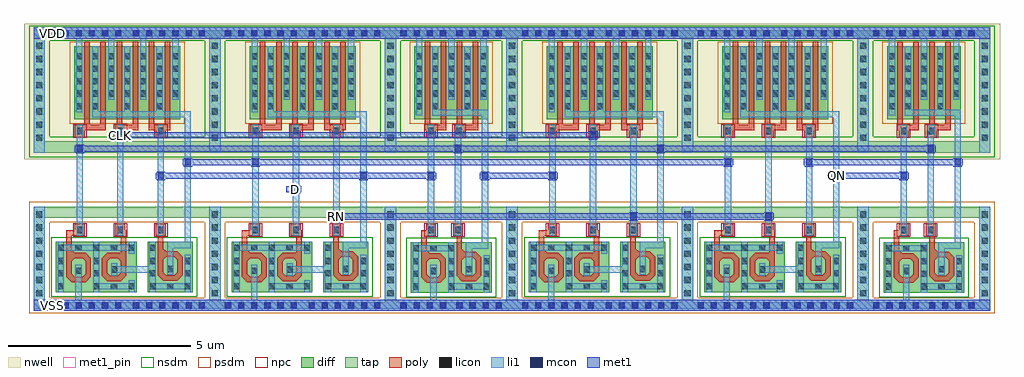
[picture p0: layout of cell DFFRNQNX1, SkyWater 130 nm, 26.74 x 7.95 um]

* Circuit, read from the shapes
.subckt DFFRNQNX1 CLK D QN RN VDD VSS
XM1 n1 n2 VSS VSS sky130_fd_pr__nfet_01v8 w=2.6 l=0.1462
XM2 n1 CLK n3 VSS sky130_fd_pr__nfet_01v8 w=2.52 l=0.1453
XM3 n3 n4 n5 VSS sky130_fd_pr__nfet_01v8 w=2.56 l=0.1459
XM4 n6 n5 VSS VSS sky130_fd_pr__nfet_01v8 w=2.6 l=0.1461
XM5 n6 D n7 VSS sky130_fd_pr__nfet_01v8 w=2.52 l=0.1453
XM6 n7 RN n4 VSS sky130_fd_pr__nfet_01v8 w=2.56 l=0.1459
XM7 n8 n4 VSS VSS sky130_fd_pr__nfet_01v8 w=2.6 l=0.1465
XM8 n8 n2 n9 VSS sky130_fd_pr__nfet_01v8 w=2.56 l=0.1463
XM9 n10 n9 VSS VSS sky130_fd_pr__nfet_01v8 w=2.6 l=0.1464
XM10 n10 CLK n11 VSS sky130_fd_pr__nfet_01v8 w=2.52 l=0.1453
XM11 n11 RN n2 VSS sky130_fd_pr__nfet_01v8 w=2.56 l=0.1459
XM12 n12 n5 VSS VSS sky130_fd_pr__nfet_01v8 w=2.6 l=0.1461
XM13 n12 RN n13 VSS sky130_fd_pr__nfet_01v8 w=2.52 l=0.1453
XM14 n13 n14 QN VSS sky130_fd_pr__nfet_01v8 w=2.56 l=0.1459
XM15 n15 QN VSS VSS sky130_fd_pr__nfet_01v8 w=2.6 l=0.1465
XM16 n15 n2 n14 VSS sky130_fd_pr__nfet_01v8 w=2.56 l=0.1461
XM17 n5 n2 VDD VDD sky130_fd_pr__pfet_01v8 w=2 l=0.15 m=2
XM18 n5 CLK VDD VDD sky130_fd_pr__pfet_01v8 w=2 l=0.15 m=2
XM19 n5 n4 VDD VDD sky130_fd_pr__pfet_01v8 w=2 l=0.15 m=2
XM20 n4 n5 VDD VDD sky130_fd_pr__pfet_01v8 w=2 l=0.15 m=2
XM21 n4 D VDD VDD sky130_fd_pr__pfet_01v8 w=2 l=0.15 m=2
XM22 n4 RN VDD VDD sky130_fd_pr__pfet_01v8 w=2 l=0.15 m=2
XM23 n9 n4 VDD VDD sky130_fd_pr__pfet_01v8 w=2 l=0.15 m=2
XM24 n9 n2 VDD VDD sky130_fd_pr__pfet_01v8 w=2 l=0.15 m=2
XM25 n2 n9 VDD VDD sky130_fd_pr__pfet_01v8 w=2 l=0.15 m=2
XM26 n2 CLK VDD VDD sky130_fd_pr__pfet_01v8 w=2 l=0.15 m=2
XM27 n2 RN VDD VDD sky130_fd_pr__pfet_01v8 w=2 l=0.15 m=2
XM28 QN n5 VDD VDD sky130_fd_pr__pfet_01v8 w=2 l=0.15 m=2
XM29 QN RN VDD VDD sky130_fd_pr__pfet_01v8 w=2 l=0.15 m=2
XM30 QN n14 VDD VDD sky130_fd_pr__pfet_01v8 w=2 l=0.15 m=2
XM31 n14 QN VDD VDD sky130_fd_pr__pfet_01v8 w=2 l=0.15 m=2
XM32 n14 n2 VDD VDD sky130_fd_pr__pfet_01v8 w=2 l=0.15 m=2
.ends

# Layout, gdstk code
import gdstk
lib = gdstk.Library(unit=1e-6, precision=1e-09)
def R(c, l, rs):  # rectangles x0, y0, x1, y1
    for r in rs: c.add(gdstk.rectangle(r[:2], r[2:], *l))
def A(c, l, x, y, w, h, nx, ny, dx, dy):  # array of equal rectangles
    R(c, l, [(x+i*dx, y+j*dy, x+i*dx+w, y+j*dy+h) for i in range(nx) for j in range(ny)])
def P(c, l, *ps):  # polygons
    for p in ps: c.add(gdstk.Polygon(p, *l))
nwell = (64, 20)
diff = (65, 20)
tap = (65, 44)
poly = (66, 20)
licon = (66, 44)
li1 = (67, 20)
mcon = (67, 44)
met1_pin = (68, 16)
met1 = (68, 20)
nsdm = (93, 44)
psdm = (94, 20)
npc = (95, 20)

dffrnqnx1 = lib.new_cell('DFFRNQNX1')
R(dffrnqnx1, nwell, [(-0.42,4.16,26.32,7.875)])
R(dffrnqnx1, diff, [(10.18,0.505,12.39,1.885), (23.13,0.505,25.34,1.885), (0.455,0.515,2.665,1.895), (2.965,0.515,4.205,1.895), (5.265,0.515,7.475,1.895), (7.775,0.515,9.015,1.895), (13.405,0.515,15.615,1.895), (15.915,0.515,17.155,1.895), (18.215,0.515,20.425,1.895), (20.725,0.515,21.965,1.895), (0.955,5.25,3.855,7.25), (5.765,5.25,8.665,7.25), (10.275,5.25,12.295,7.25), (13.905,5.25,16.805,7.25), (18.715,5.25,21.615,7.25), (23.225,5.25,25.245,7.25)])
A(dffrnqnx1, tap, -0.155, 0.055, 0.31, 0.01, 3, 1, 4.81, 0)
A(dffrnqnx1, tap, 12.795, 0.055, 0.31, 0.01, 3, 1, 4.81, 0)
A(dffrnqnx1, tap, -0.155, 0.235, 0.31, 2.315, 3, 1, 4.81, 0)
A(dffrnqnx1, tap, 12.795, 0.235, 0.31, 2.315, 3, 1, 4.81, 0)
A(dffrnqnx1, tap, -0.155, 4.65, 0.31, 2.875, 3, 1, 4.81, 0)
A(dffrnqnx1, tap, 12.795, 4.65, 0.31, 2.875, 3, 1, 4.81, 0)
R(dffrnqnx1, tap, [(25.745,0.055,26.055,0.065), (-0.155,0.065,26.055,0.235), (25.745,0.235,26.055,2.55), (-0.155,2.55,26.055,2.86), (-0.155,4.34,26.055,4.65), (25.745,4.65,26.055,7.525), (-0.155,7.525,26.055,7.695)])
A(dffrnqnx1, poly, 11.335, 2.055, 0.27, 0.33, 3, 1, 4.81, 0)
A(dffrnqnx1, poly, 0.975, 4.765, 0.27, 0.18, 3, 1, 1.11, 0)
A(dffrnqnx1, poly, 5.785, 4.765, 0.27, 0.18, 3, 1, 1.11, 0)
A(dffrnqnx1, poly, 13.925, 4.765, 0.27, 0.18, 3, 1, 1.11, 0)
A(dffrnqnx1, poly, 18.735, 4.765, 0.27, 0.18, 3, 1, 1.11, 0)
A(dffrnqnx1, poly, 1.235, 5.095, 0.15, 2.285, 6, 1, 0.44, 0)
A(dffrnqnx1, poly, 6.045, 5.095, 0.15, 2.285, 6, 1, 0.44, 0)
A(dffrnqnx1, poly, 10.555, 5.095, 0.15, 2.285, 4, 1, 0.44, 0)
A(dffrnqnx1, poly, 14.185, 5.095, 0.15, 2.285, 6, 1, 0.44, 0)
A(dffrnqnx1, poly, 18.995, 5.095, 0.15, 2.285, 6, 1, 0.44, 0)
A(dffrnqnx1, poly, 23.505, 5.095, 0.15, 2.285, 4, 1, 0.44, 0)
R(dffrnqnx1, poly, [(10.61,0.775,10.99,0.785), (23.56,0.775,23.94,0.785), (0.885,0.785,1.265,0.935), (5.695,0.785,6.075,0.82), (10.6,0.785,10.99,0.82), (13.835,0.785,14.215,0.815), (18.645,0.785,19.025,0.82), (23.55,0.785,23.94,0.82), (11.58,0.815,11.96,0.965), (13.805,0.815,14.215,0.935), (24.53,0.815,24.91,0.965), (1.86,0.82,2.235,0.97), (5.66,0.82,6.075,0.825), (6.67,0.82,7.045,0.97), (10.565,0.82,10.99,0.825), (14.81,0.82,15.185,0.97), (18.61,0.82,19.025,0.825), (19.62,0.82,19.995,0.97), (23.515,0.82,23.94,0.825), (3.395,0.825,3.775,0.975), (5.655,0.825,6.075,0.935), (8.205,0.825,8.585,0.975), (10.56,0.825,10.99,0.925), (16.345,0.825,16.725,0.975), (18.605,0.825,19.025,0.935), (21.155,0.825,21.535,0.975), (23.51,0.825,23.94,0.925), (10.46,0.925,10.61,1.43), (10.99,0.925,11.14,1.43), (23.41,0.925,23.56,1.43), (23.94,0.925,24.09,1.43), (0.735,0.935,0.885,1.44), (1.265,0.935,1.415,1.44), (5.545,0.935,5.695,1.44), (6.075,0.935,6.225,1.44), (13.685,0.935,13.835,1.44), (14.215,0.935,14.365,1.44), (18.495,0.935,18.645,1.44), (19.025,0.935,19.175,1.44), (11.43,0.965,11.58,1.47), (11.96,0.965,12.11,1.47), (24.38,0.965,24.53,1.47), (24.91,0.965,25.06,1.47), (1.71,0.97,1.86,1.44), (2.235,0.97,2.385,1.44), (6.52,0.97,6.67,1.44), (7.045,0.97,7.195,1.44), (14.66,0.97,14.81,1.44), (15.185,0.97,15.335,1.44), (19.47,0.97,19.62,1.44), (19.995,0.97,20.145,1.44), (3.245,0.975,3.395,1.48), (3.775,0.975,3.925,1.48), (8.055,0.975,8.205,1.48), (8.585,0.975,8.735,1.48), (16.195,0.975,16.345,1.48), (16.725,0.975,16.875,1.48), (21.005,0.975,21.155,1.48), (21.535,0.975,21.685,1.48), (10.46,1.43,10.99,1.58), (23.41,1.43,23.94,1.58), (0.735,1.44,1.265,1.59), (1.86,1.44,2.385,1.59), (5.545,1.44,6.075,1.59), (6.67,1.44,7.195,1.59), (13.685,1.44,14.215,1.59), (14.81,1.44,15.335,1.59), (18.495,1.44,19.025,1.59), (19.62,1.44,20.145,1.59), (11.43,1.47,11.96,1.62), (24.38,1.47,24.91,1.62), (3.245,1.48,3.775,1.63), (8.055,1.48,8.585,1.63), (16.195,1.48,16.725,1.63), (21.005,1.48,21.535,1.63), (10.46,1.58,10.61,2.055), (23.41,1.58,23.56,2.055), (0.735,1.59,0.885,2.055), (2.235,1.59,2.385,2.055), (5.545,1.59,5.695,2.055), (7.045,1.59,7.195,2.055), (13.685,1.59,13.835,2.055), (15.185,1.59,15.335,2.055), (18.495,1.59,18.645,2.055), (19.995,1.59,20.145,2.055), (11.43,1.62,11.58,2.055), (24.38,1.62,24.53,2.055), (3.245,1.63,3.395,2.055), (8.055,1.63,8.205,2.055), (16.195,1.63,16.345,2.055), (21.005,1.63,21.155,2.055), (0.735,2.055,1.245,2.205), (2.085,2.055,2.385,2.205), (3.195,2.055,3.465,2.385), (5.545,2.055,6.055,2.205), (6.895,2.055,7.195,2.205), (8.005,2.055,8.275,2.385), (10.46,2.055,10.865,2.205), (13.685,2.055,14.195,2.205), (15.035,2.055,15.335,2.205), (18.495,2.055,19.005,2.205), (19.845,2.055,20.145,2.205), (23.41,2.055,23.815,2.205), (24.285,2.055,24.555,2.385), (0.975,2.205,1.245,2.385), (2.085,2.205,2.355,2.385), (5.785,2.205,6.055,2.385), (6.895,2.205,7.165,2.385), (10.595,2.205,10.865,2.385), (13.925,2.205,14.195,2.385), (15.035,2.205,15.305,2.385), (18.735,2.205,19.005,2.385), (19.845,2.205,20.115,2.385), (23.545,2.205,23.815,2.385), (10.595,4.765,10.865,4.945), (11.365,4.765,11.635,4.945), (23.545,4.765,23.815,4.945), (24.315,4.765,24.585,4.945), (0.975,4.945,1.825,5.095), (2.085,4.945,2.705,5.095), (2.995,4.945,3.585,5.095), (5.785,4.945,6.635,5.095), (6.895,4.945,7.515,5.095), (7.805,4.945,8.395,5.095), (10.555,4.945,11.145,5.095), (11.365,4.945,12.025,5.095), (13.925,4.945,14.775,5.095), (15.035,4.945,15.655,5.095), (15.945,4.945,16.535,5.095), (18.735,4.945,19.585,5.095), (19.845,4.945,20.465,5.095), (20.755,4.945,21.345,5.095), (23.505,4.945,24.095,5.095), (24.315,4.945,24.975,5.095)])
P(dffrnqnx1, poly, [(0.885,1.67),(0.885,1.59),(0.965,1.59)],
  [(1.265,1.59),(1.265,1.44),(1.415,1.44)],
  [(0.885,1.36),(0.885,1.44),(0.965,1.44)],
  [(1.185,1.44),(1.265,1.44),(1.265,1.36)],
  [(0.885,1.015),(0.885,0.935),(0.965,0.935)],
  [(1.185,0.935),(1.265,0.935),(1.265,1.015)],
  [(0.735,0.935),(0.885,0.935),(0.885,0.785)],
  [(1.265,0.785),(1.265,0.935),(1.415,0.935)],
  [(1.71,1.44),(1.86,1.44),(1.86,1.59)],
  [(1.86,1.36),(1.86,1.44),(1.94,1.44)],
  [(2.155,1.44),(2.235,1.44),(2.235,1.36)],
  [(1.86,1.05),(1.86,0.97),(1.94,0.97)],
  [(2.155,0.97),(2.235,0.97),(2.235,1.05)],
  [(1.71,0.97),(1.86,0.97),(1.86,0.82)],
  [(2.235,0.82),(2.235,0.97),(2.385,0.97)],
  [(3.395,1.71),(3.395,1.63),(3.475,1.63)],
  [(3.775,1.63),(3.775,1.48),(3.925,1.48)],
  [(3.395,1.4),(3.395,1.48),(3.475,1.48)],
  [(3.695,1.48),(3.775,1.48),(3.775,1.4)],
  [(3.395,1.055),(3.395,0.975),(3.475,0.975)],
  [(3.695,0.975),(3.775,0.975),(3.775,1.055)],
  [(3.245,0.975),(3.395,0.975),(3.395,0.825)],
  [(3.775,0.825),(3.775,0.975),(3.925,0.975)],
  [(5.695,1.67),(5.695,1.59),(5.775,1.59)],
  [(6.075,1.59),(6.075,1.44),(6.225,1.44)],
  [(5.695,1.36),(5.695,1.44),(5.775,1.44)],
  [(5.995,1.44),(6.075,1.44),(6.075,1.36)],
  [(5.695,1.015),(5.695,0.935),(5.775,0.935)],
  [(5.995,0.935),(6.075,0.935),(6.075,1.015)],
  [(5.545,0.935),(5.655,0.935),(5.655,0.825)],
  [(5.655,0.825),(5.66,0.825),(5.66,0.82)],
  [(5.66,0.82),(5.695,0.82),(5.695,0.785)],
  [(6.075,0.785),(6.075,0.935),(6.225,0.935)],
  [(6.52,1.44),(6.67,1.44),(6.67,1.59)],
  [(6.67,1.36),(6.67,1.44),(6.75,1.44)],
  [(6.965,1.44),(7.045,1.44),(7.045,1.36)],
  [(6.67,1.05),(6.67,0.97),(6.75,0.97)],
  [(6.965,0.97),(7.045,0.97),(7.045,1.05)],
  [(6.52,0.97),(6.67,0.97),(6.67,0.82)],
  [(7.045,0.82),(7.045,0.97),(7.195,0.97)],
  [(8.205,1.71),(8.205,1.63),(8.285,1.63)],
  [(8.585,1.63),(8.585,1.48),(8.735,1.48)],
  [(8.205,1.4),(8.205,1.48),(8.285,1.48)],
  [(8.505,1.48),(8.585,1.48),(8.585,1.4)],
  [(8.205,1.055),(8.205,0.975),(8.285,0.975)],
  [(8.505,0.975),(8.585,0.975),(8.585,1.055)],
  [(8.055,0.975),(8.205,0.975),(8.205,0.825)],
  [(8.585,0.825),(8.585,0.975),(8.735,0.975)],
  [(10.61,1.66),(10.61,1.58),(10.69,1.58)],
  [(11.58,1.7),(11.58,1.62),(11.66,1.62)],
  [(10.99,1.58),(10.99,1.43),(11.14,1.43)],
  [(10.61,1.35),(10.61,1.43),(10.69,1.43)],
  [(10.91,1.43),(10.99,1.43),(10.99,1.35)],
  [(10.61,1.005),(10.61,0.925),(10.69,0.925)],
  [(10.91,0.925),(10.99,0.925),(10.99,1.005)],
  [(10.46,0.925),(10.56,0.925),(10.56,0.825)],
  [(10.56,0.825),(10.565,0.825),(10.565,0.82)],
  [(10.565,0.82),(10.6,0.82),(10.6,0.785)],
  [(10.6,0.785),(10.61,0.785),(10.61,0.775)],
  [(10.99,0.775),(10.99,0.925),(11.14,0.925)],
  [(11.96,1.62),(11.96,1.47),(12.11,1.47)],
  [(11.58,1.39),(11.58,1.47),(11.66,1.47)],
  [(11.88,1.47),(11.96,1.47),(11.96,1.39)],
  [(11.58,1.045),(11.58,0.965),(11.66,0.965)],
  [(11.88,0.965),(11.96,0.965),(11.96,1.045)],
  [(11.43,0.965),(11.58,0.965),(11.58,0.815)],
  [(11.96,0.815),(11.96,0.965),(12.11,0.965)],
  [(13.835,1.67),(13.835,1.59),(13.915,1.59)],
  [(14.215,1.59),(14.215,1.44),(14.365,1.44)],
  [(13.835,1.36),(13.835,1.44),(13.915,1.44)],
  [(14.135,1.44),(14.215,1.44),(14.215,1.36)],
  [(13.835,1.015),(13.835,0.935),(13.915,0.935)],
  [(14.135,0.935),(14.215,0.935),(14.215,1.015)],
  [(13.685,0.935),(13.805,0.935),(13.805,0.815)],
  [(13.805,0.815),(13.835,0.815),(13.835,0.785)],
  [(14.215,0.785),(14.215,0.935),(14.365,0.935)],
  [(14.66,1.44),(14.81,1.44),(14.81,1.59)],
  [(14.81,1.36),(14.81,1.44),(14.89,1.44)],
  [(15.105,1.44),(15.185,1.44),(15.185,1.36)],
  [(14.81,1.05),(14.81,0.97),(14.89,0.97)],
  [(15.105,0.97),(15.185,0.97),(15.185,1.05)],
  [(14.66,0.97),(14.81,0.97),(14.81,0.82)],
  [(15.185,0.82),(15.185,0.97),(15.335,0.97)],
  [(16.345,1.71),(16.345,1.63),(16.425,1.63)],
  [(16.725,1.63),(16.725,1.48),(16.875,1.48)],
  [(16.345,1.4),(16.345,1.48),(16.425,1.48)],
  [(16.645,1.48),(16.725,1.48),(16.725,1.4)],
  [(16.345,1.055),(16.345,0.975),(16.425,0.975)],
  [(16.645,0.975),(16.725,0.975),(16.725,1.055)],
  [(16.195,0.975),(16.345,0.975),(16.345,0.825)],
  [(16.725,0.825),(16.725,0.975),(16.875,0.975)],
  [(18.645,1.67),(18.645,1.59),(18.725,1.59)],
  [(19.025,1.59),(19.025,1.44),(19.175,1.44)],
  [(18.645,1.36),(18.645,1.44),(18.725,1.44)],
  [(18.945,1.44),(19.025,1.44),(19.025,1.36)],
  [(18.645,1.015),(18.645,0.935),(18.725,0.935)],
  [(18.945,0.935),(19.025,0.935),(19.025,1.015)],
  [(18.495,0.935),(18.605,0.935),(18.605,0.825)],
  [(18.605,0.825),(18.61,0.825),(18.61,0.82)],
  [(18.61,0.82),(18.645,0.82),(18.645,0.785)],
  [(19.025,0.785),(19.025,0.935),(19.175,0.935)],
  [(19.47,1.44),(19.62,1.44),(19.62,1.59)],
  [(19.62,1.36),(19.62,1.44),(19.7,1.44)],
  [(19.915,1.44),(19.995,1.44),(19.995,1.36)],
  [(19.62,1.05),(19.62,0.97),(19.7,0.97)],
  [(19.915,0.97),(19.995,0.97),(19.995,1.05)],
  [(19.47,0.97),(19.62,0.97),(19.62,0.82)],
  [(19.995,0.82),(19.995,0.97),(20.145,0.97)],
  [(21.155,1.71),(21.155,1.63),(21.235,1.63)],
  [(21.535,1.63),(21.535,1.48),(21.685,1.48)],
  [(21.155,1.4),(21.155,1.48),(21.235,1.48)],
  [(21.455,1.48),(21.535,1.48),(21.535,1.4)],
  [(21.155,1.055),(21.155,0.975),(21.235,0.975)],
  [(21.455,0.975),(21.535,0.975),(21.535,1.055)],
  [(21.005,0.975),(21.155,0.975),(21.155,0.825)],
  [(21.535,0.825),(21.535,0.975),(21.685,0.975)],
  [(23.56,1.66),(23.56,1.58),(23.64,1.58)],
  [(24.53,1.7),(24.53,1.62),(24.61,1.62)],
  [(23.94,1.58),(23.94,1.43),(24.09,1.43)],
  [(23.56,1.35),(23.56,1.43),(23.64,1.43)],
  [(23.86,1.43),(23.94,1.43),(23.94,1.35)],
  [(23.56,1.005),(23.56,0.925),(23.64,0.925)],
  [(23.86,0.925),(23.94,0.925),(23.94,1.005)],
  [(23.41,0.925),(23.51,0.925),(23.51,0.825)],
  [(23.51,0.825),(23.515,0.825),(23.515,0.82)],
  [(23.515,0.82),(23.55,0.82),(23.55,0.785)],
  [(23.55,0.785),(23.56,0.785),(23.56,0.775)],
  [(23.94,0.775),(23.94,0.925),(24.09,0.925)],
  [(24.91,1.62),(24.91,1.47),(25.06,1.47)],
  [(24.53,1.39),(24.53,1.47),(24.61,1.47)],
  [(24.83,1.47),(24.91,1.47),(24.91,1.39)],
  [(24.53,1.045),(24.53,0.965),(24.61,0.965)],
  [(24.83,0.965),(24.91,0.965),(24.91,1.045)],
  [(24.38,0.965),(24.53,0.965),(24.53,0.815)],
  [(24.91,0.815),(24.91,0.965),(25.06,0.965)])
A(dffrnqnx1, licon, 0.275, 0.065, 0.17, 0.17, 6, 2, 0.36, 7.46)
A(dffrnqnx1, licon, 2.565, 0.065, 0.17, 0.17, 6, 2, 0.36, 7.46)
A(dffrnqnx1, licon, 5.085, 0.065, 0.17, 0.17, 6, 2, 0.36, 7.46)
A(dffrnqnx1, licon, 7.375, 0.065, 0.17, 0.17, 6, 2, 0.36, 7.46)
A(dffrnqnx1, licon, 9.895, 0.065, 0.17, 0.17, 4, 2, 0.36, 7.46)
A(dffrnqnx1, licon, 11.425, 0.065, 0.17, 0.17, 4, 2, 0.36, 7.46)
A(dffrnqnx1, licon, 13.225, 0.065, 0.17, 0.17, 6, 2, 0.36, 7.46)
A(dffrnqnx1, licon, 15.515, 0.065, 0.17, 0.17, 6, 2, 0.36, 7.46)
A(dffrnqnx1, licon, 18.035, 0.065, 0.17, 0.17, 6, 2, 0.36, 7.46)
A(dffrnqnx1, licon, 20.325, 0.065, 0.17, 0.17, 6, 2, 0.36, 7.46)
A(dffrnqnx1, licon, 22.845, 0.065, 0.17, 0.17, 4, 2, 0.36, 7.46)
A(dffrnqnx1, licon, 24.375, 0.065, 0.17, 0.17, 4, 2, 0.36, 7.46)
A(dffrnqnx1, licon, -0.085, 0.4, 0.17, 0.17, 3, 7, 4.81, 0.36)
A(dffrnqnx1, licon, 12.865, 0.4, 0.17, 0.17, 3, 7, 4.81, 0.36)
A(dffrnqnx1, licon, 25.815, 0.4, 0.17, 0.17, 1, 7, 0, 0.36)
A(dffrnqnx1, licon, 11.2, 0.585, 0.17, 0.17, 3, 1, 0.485, 0)
A(dffrnqnx1, licon, 24.15, 0.585, 0.17, 0.17, 3, 1, 0.485, 0)
A(dffrnqnx1, licon, 1.475, 0.595, 0.17, 0.17, 3, 1, 0.485, 0)
A(dffrnqnx1, licon, 3.015, 0.595, 0.17, 0.17, 3, 1, 0.485, 0)
A(dffrnqnx1, licon, 6.285, 0.595, 0.17, 0.17, 3, 1, 0.485, 0)
A(dffrnqnx1, licon, 7.825, 0.595, 0.17, 0.17, 3, 1, 0.485, 0)
A(dffrnqnx1, licon, 14.425, 0.595, 0.17, 0.17, 3, 1, 0.485, 0)
A(dffrnqnx1, licon, 15.965, 0.595, 0.17, 0.17, 3, 1, 0.485, 0)
A(dffrnqnx1, licon, 19.235, 0.595, 0.17, 0.17, 3, 1, 0.485, 0)
A(dffrnqnx1, licon, 20.775, 0.595, 0.17, 0.17, 3, 1, 0.485, 0)
A(dffrnqnx1, licon, 10.23, 0.935, 0.17, 0.17, 3, 2, 0.97, 0.34)
A(dffrnqnx1, licon, 23.18, 0.935, 0.17, 0.17, 3, 2, 0.97, 0.34)
A(dffrnqnx1, licon, 10.23, 1.635, 0.17, 0.17, 3, 1, 0.485, 0)
A(dffrnqnx1, licon, 23.18, 1.635, 0.17, 0.17, 3, 1, 0.485, 0)
A(dffrnqnx1, licon, 0.505, 1.645, 0.17, 0.17, 5, 1, 0.485, 0)
A(dffrnqnx1, licon, 5.315, 1.645, 0.17, 0.17, 5, 1, 0.485, 0)
A(dffrnqnx1, licon, 13.455, 1.645, 0.17, 0.17, 5, 1, 0.485, 0)
A(dffrnqnx1, licon, 18.265, 1.645, 0.17, 0.17, 5, 1, 0.485, 0)
A(dffrnqnx1, licon, 1.025, 2.135, 0.17, 0.17, 3, 2, 1.11, 2.71)
A(dffrnqnx1, licon, 5.835, 2.135, 0.17, 0.17, 3, 2, 1.11, 2.71)
A(dffrnqnx1, licon, 13.975, 2.135, 0.17, 0.17, 3, 2, 1.11, 2.71)
A(dffrnqnx1, licon, 18.785, 2.135, 0.17, 0.17, 3, 2, 1.11, 2.71)
A(dffrnqnx1, licon, -0.085, 4.66, 0.17, 0.17, 3, 8, 4.81, 0.36)
A(dffrnqnx1, licon, 12.865, 4.66, 0.17, 0.17, 3, 8, 4.81, 0.36)
A(dffrnqnx1, licon, 25.815, 4.66, 0.17, 0.17, 1, 8, 0, 0.36)
A(dffrnqnx1, licon, 1.445, 5.525, 0.17, 0.17, 3, 1, 0.88, 0)
A(dffrnqnx1, licon, 6.255, 5.525, 0.17, 0.17, 3, 1, 0.88, 0)
A(dffrnqnx1, licon, 14.395, 5.525, 0.17, 0.17, 3, 1, 0.88, 0)
A(dffrnqnx1, licon, 19.205, 5.525, 0.17, 0.17, 3, 1, 0.88, 0)
A(dffrnqnx1, licon, 1.005, 5.87, 0.17, 0.17, 7, 4, 0.44, 0.34)
A(dffrnqnx1, licon, 5.815, 5.87, 0.17, 0.17, 7, 4, 0.44, 0.34)
A(dffrnqnx1, licon, 10.325, 5.87, 0.17, 0.17, 5, 4, 0.44, 0.34)
A(dffrnqnx1, licon, 13.955, 5.87, 0.17, 0.17, 7, 4, 0.44, 0.34)
A(dffrnqnx1, licon, 18.765, 5.87, 0.17, 0.17, 7, 4, 0.44, 0.34)
A(dffrnqnx1, licon, 23.275, 5.87, 0.17, 0.17, 5, 4, 0.44, 0.34)
R(dffrnqnx1, licon, [(10.23,0.585,10.4,0.755), (23.18,0.585,23.35,0.755), (0.505,0.595,0.675,0.765), (5.315,0.595,5.485,0.765), (13.455,0.595,13.625,0.765), (18.265,0.595,18.435,0.765), (0.505,0.945,0.675,1.115), (1.475,0.945,1.645,1.115), (3.015,0.945,3.185,1.115), (3.985,0.945,4.155,1.115), (5.315,0.945,5.485,1.115), (6.285,0.945,6.455,1.115), (7.825,0.945,7.995,1.115), (8.795,0.945,8.965,1.115), (13.455,0.945,13.625,1.115), (14.425,0.945,14.595,1.115), (15.965,0.945,16.135,1.115), (16.935,0.945,17.105,1.115), (18.265,0.945,18.435,1.115), (19.235,0.945,19.405,1.115), (20.775,0.945,20.945,1.115), (21.745,0.945,21.915,1.115), (10.715,1.01,10.885,1.18), (23.665,1.01,23.835,1.18), (0.99,1.02,1.16,1.19), (5.8,1.02,5.97,1.19), (13.94,1.02,14.11,1.19), (18.75,1.02,18.92,1.19), (1.965,1.05,2.135,1.22), (6.775,1.05,6.945,1.22), (14.915,1.05,15.085,1.22), (19.725,1.05,19.895,1.22), (11.685,1.055,11.855,1.225), (24.635,1.055,24.805,1.225), (3.5,1.065,3.67,1.235), (8.31,1.065,8.48,1.235), (16.45,1.065,16.62,1.235), (21.26,1.065,21.43,1.235), (0.505,1.285,0.675,1.455), (1.475,1.285,1.645,1.455), (3.015,1.285,3.185,1.455), (3.985,1.285,4.155,1.455), (5.315,1.285,5.485,1.455), (6.285,1.285,6.455,1.455), (7.825,1.285,7.995,1.455), (8.795,1.285,8.965,1.455), (13.455,1.285,13.625,1.455), (14.425,1.285,14.595,1.455), (15.965,1.285,16.135,1.455), (16.935,1.285,17.105,1.455), (18.265,1.285,18.435,1.455), (19.235,1.285,19.405,1.455), (20.775,1.285,20.945,1.455), (21.745,1.285,21.915,1.455), (3.015,1.645,3.185,1.815), (7.825,1.645,7.995,1.815), (15.965,1.645,16.135,1.815), (20.775,1.645,20.945,1.815), (10.645,2.135,10.815,2.305), (11.385,2.135,11.555,2.305), (23.595,2.135,23.765,2.305), (24.335,2.135,24.505,2.305), (10.645,4.845,10.815,5.015), (11.415,4.845,11.585,5.015), (23.595,4.845,23.765,5.015), (24.365,4.845,24.535,5.015), (1.005,5.525,1.175,5.695), (5.815,5.525,5.985,5.695), (10.325,5.525,10.495,5.695), (10.765,5.525,10.935,5.695), (11.645,5.525,11.815,5.695), (13.955,5.525,14.125,5.695), (18.765,5.525,18.935,5.695), (23.275,5.525,23.445,5.695), (23.715,5.525,23.885,5.695), (24.595,5.525,24.765,5.695)])
A(dffrnqnx1, li1, -0.155, 0.31, 0.31, 2.55, 3, 1, 4.81, 0)
A(dffrnqnx1, li1, 12.795, 0.31, 0.31, 2.55, 3, 1, 4.81, 0)
A(dffrnqnx1, li1, 0.505, 1.815, 0.17, 0.08, 3, 1, 0.97, 0)
A(dffrnqnx1, li1, 5.315, 1.815, 0.17, 0.08, 3, 1, 0.97, 0)
A(dffrnqnx1, li1, 13.455, 1.815, 0.17, 0.08, 3, 1, 0.97, 0)
A(dffrnqnx1, li1, 18.265, 1.815, 0.17, 0.08, 3, 1, 0.97, 0)
A(dffrnqnx1, li1, 1.025, 2.055, 0.17, 3.04, 3, 1, 1.11, 0)
A(dffrnqnx1, li1, 5.835, 2.055, 0.17, 3.04, 3, 1, 1.11, 0)
A(dffrnqnx1, li1, 13.975, 2.055, 0.17, 3.04, 3, 1, 1.11, 0)
A(dffrnqnx1, li1, 18.785, 2.055, 0.17, 3.04, 3, 1, 1.11, 0)
A(dffrnqnx1, li1, -0.155, 4.34, 0.31, 3.12, 3, 1, 4.81, 0)
A(dffrnqnx1, li1, 12.795, 4.34, 0.31, 3.12, 3, 1, 4.81, 0)
A(dffrnqnx1, li1, 1.445, 5.47, 0.17, 1.78, 3, 1, 0.88, 0)
A(dffrnqnx1, li1, 6.255, 5.47, 0.17, 1.78, 3, 1, 0.88, 0)
A(dffrnqnx1, li1, 14.395, 5.47, 0.17, 1.78, 3, 1, 0.88, 0)
A(dffrnqnx1, li1, 19.205, 5.47, 0.17, 1.78, 3, 1, 0.88, 0)
A(dffrnqnx1, li1, 1.885, 5.785, 0.17, 1.675, 3, 1, 0.88, 0)
A(dffrnqnx1, li1, 6.695, 5.785, 0.17, 1.675, 3, 1, 0.88, 0)
A(dffrnqnx1, li1, 14.835, 5.785, 0.17, 1.675, 3, 1, 0.88, 0)
A(dffrnqnx1, li1, 19.645, 5.785, 0.17, 1.675, 3, 1, 0.88, 0)
R(dffrnqnx1, li1, [(-0.155,0,26.055,0.31), (0.99,0.31,1.16,1.27), (5.8,0.31,5.97,1.27), (10.715,0.31,10.885,1.26), (13.94,0.31,14.11,1.27), (18.75,0.31,18.92,1.27), (23.665,0.31,23.835,1.26), (25.745,0.31,26.055,2.86), (10.23,0.505,10.4,1.635), (11.2,0.505,11.37,0.585), (12.17,0.505,12.34,0.585), (23.18,0.505,23.35,1.635), (24.15,0.505,24.32,0.585), (25.12,0.505,25.29,0.585), (0.505,0.515,0.675,1.645), (1.475,0.515,1.645,0.595), (2.445,0.515,2.615,0.595), (3.015,0.515,3.185,0.595), (3.985,0.515,4.155,0.595), (5.315,0.515,5.485,1.645), (6.285,0.515,6.455,0.595), (7.255,0.515,7.425,0.595), (7.825,0.515,7.995,0.595), (8.795,0.515,8.965,0.595), (13.455,0.515,13.625,1.645), (14.425,0.515,14.595,0.595), (15.395,0.515,15.565,0.595), (15.965,0.515,16.135,0.595), (16.935,0.515,17.105,0.595), (18.265,0.515,18.435,1.645), (19.235,0.515,19.405,0.595), (20.205,0.515,20.375,0.595), (20.775,0.515,20.945,0.595), (21.745,0.515,21.915,0.595), (11.2,0.585,12.34,0.755), (24.15,0.585,25.29,0.755), (1.475,0.595,2.615,0.765), (3.015,0.595,4.155,0.765), (6.285,0.595,7.425,0.765), (7.825,0.595,8.965,0.765), (14.425,0.595,15.565,0.765), (15.965,0.595,17.105,0.765), (19.235,0.595,20.375,0.765), (20.775,0.595,21.915,0.765), (11.2,0.755,11.37,1.635), (12.17,0.755,12.34,1.525), (24.15,0.755,24.32,1.635), (25.12,0.755,25.29,1.525), (1.475,0.765,1.645,1.645), (2.445,0.765,2.615,0.845), (3.015,0.765,3.185,1.05), (3.985,0.765,4.155,1.535), (6.285,0.765,6.455,1.645), (7.255,0.765,7.425,0.845), (7.825,0.765,7.995,1.05), (8.795,0.765,8.965,1.535), (14.425,0.765,14.595,1.645), (15.395,0.765,15.565,0.845), (15.965,0.765,16.135,1.05), (16.935,0.765,17.105,1.535), (19.235,0.765,19.405,1.645), (20.205,0.765,20.375,0.845), (20.775,0.765,20.945,1.05), (21.745,0.765,21.915,1.535), (1.965,0.97,2.135,1.05), (6.775,0.97,6.945,1.05), (14.915,0.97,15.085,1.05), (19.725,0.97,19.895,1.05), (11.685,0.975,11.855,1.71), (24.635,0.975,24.805,1.71), (3.5,0.985,3.67,1.72), (8.31,0.985,8.48,1.72), (16.45,0.985,16.62,1.72), (21.26,0.985,21.43,1.72), (1.965,1.05,3.185,1.22), (6.775,1.05,7.995,1.22), (14.915,1.05,16.135,1.22), (19.725,1.05,20.945,1.22), (1.965,1.22,2.135,1.3), (3.015,1.22,3.185,1.895), (6.775,1.22,6.945,1.3), (7.825,1.22,7.995,1.895), (14.915,1.22,15.085,1.3), (15.965,1.22,16.135,1.895), (19.725,1.22,19.895,1.3), (20.775,1.22,20.945,1.895), (2.445,1.565,2.615,1.645), (7.255,1.565,7.425,1.645), (15.395,1.565,15.565,1.645), (20.205,1.565,20.375,1.645), (10.23,1.635,11.37,1.805), (23.18,1.635,24.32,1.805), (0.505,1.645,2.615,1.815), (5.315,1.645,7.425,1.815), (13.455,1.645,15.565,1.815), (18.265,1.645,20.375,1.815), (11.685,1.71,12.295,1.88), (24.635,1.71,25.245,1.88), (3.5,1.72,4.155,1.89), (8.31,1.72,8.965,1.89), (16.45,1.72,17.105,1.89), (21.26,1.72,21.915,1.89), (10.23,1.805,10.4,1.885), (11.2,1.805,11.37,1.885), (23.18,1.805,23.35,1.885), (24.15,1.805,24.32,1.885), (12.125,1.88,12.295,5.345), (25.075,1.88,25.245,5.345), (3.985,1.89,4.155,5.3), (8.795,1.89,8.965,5.3), (16.935,1.89,17.105,5.3), (21.745,1.89,21.915,5.3), (10.645,2.055,10.815,5.095), (11.385,2.055,11.555,4.765), (23.595,2.055,23.765,5.095), (24.335,2.055,24.505,4.765), (25.745,4.34,26.055,7.46), (11.385,4.765,11.585,4.94), (24.335,4.765,24.535,4.94), (11.415,4.94,11.585,5.095), (24.365,4.94,24.535,5.095), (1.445,5.3,4.155,5.47), (6.255,5.3,8.965,5.47), (14.395,5.3,17.105,5.47), (19.205,5.3,21.915,5.47), (10.765,5.345,12.295,5.515), (23.715,5.345,25.245,5.515), (10.325,5.365,10.495,7.46), (23.275,5.365,23.445,7.46), (1.005,5.445,1.175,7.46), (5.815,5.445,5.985,7.46), (13.955,5.445,14.125,7.46), (18.765,5.445,18.935,7.46), (10.765,5.515,10.935,7.25), (11.645,5.515,11.815,7.25), (23.715,5.515,23.885,7.25), (24.595,5.515,24.765,7.25), (11.205,5.785,11.375,7.46), (12.085,5.785,12.255,7.46), (24.155,5.785,24.325,7.46), (25.035,5.785,25.205,7.46), (-0.155,7.46,26.055,7.77)])
A(dffrnqnx1, mcon, 0.275, 0.065, 0.17, 0.17, 6, 2, 0.36, 7.46)
A(dffrnqnx1, mcon, 2.565, 0.065, 0.17, 0.17, 6, 2, 0.36, 7.46)
A(dffrnqnx1, mcon, 5.085, 0.065, 0.17, 0.17, 6, 2, 0.36, 7.46)
A(dffrnqnx1, mcon, 7.375, 0.065, 0.17, 0.17, 6, 2, 0.36, 7.46)
A(dffrnqnx1, mcon, 9.895, 0.065, 0.17, 0.17, 4, 2, 0.36, 7.46)
A(dffrnqnx1, mcon, 11.425, 0.065, 0.17, 0.17, 4, 2, 0.36, 7.46)
A(dffrnqnx1, mcon, 13.225, 0.065, 0.17, 0.17, 6, 2, 0.36, 7.46)
A(dffrnqnx1, mcon, 15.515, 0.065, 0.17, 0.17, 6, 2, 0.36, 7.46)
A(dffrnqnx1, mcon, 18.035, 0.065, 0.17, 0.17, 6, 2, 0.36, 7.46)
A(dffrnqnx1, mcon, 20.325, 0.065, 0.17, 0.17, 6, 2, 0.36, 7.46)
A(dffrnqnx1, mcon, 22.845, 0.065, 0.17, 0.17, 4, 2, 0.36, 7.46)
A(dffrnqnx1, mcon, 24.375, 0.065, 0.17, 0.17, 4, 2, 0.36, 7.46)
R(dffrnqnx1, mcon, [(8.055,2.505,8.225,2.675), (16.195,2.505,16.365,2.675), (19.895,2.505,20.065,2.675), (6.945,3.245,7.115,3.415), (3.245,3.615,3.415,3.785), (8.795,3.615,8.965,3.785), (10.645,3.615,10.815,3.785), (12.125,3.615,12.295,3.785), (13.975,3.615,14.145,3.785), (21.745,3.615,21.915,3.785), (23.595,3.615,23.765,3.785), (3.985,3.985,4.155,4.155), (5.835,3.985,6.005,4.155), (18.785,3.985,18.955,4.155), (21.005,3.985,21.175,4.155), (25.075,3.985,25.245,4.155), (1.025,4.355,1.195,4.525), (11.385,4.355,11.555,4.525), (16.935,4.355,17.105,4.525), (24.335,4.355,24.505,4.525), (2.135,4.725,2.305,4.895), (15.085,4.725,15.255,4.895)])
R(dffrnqnx1, met1_pin, [(0.275,0.065,0.445,0.235), (8.055,2.505,8.225,2.675), (6.945,3.245,7.115,3.415), (21.745,3.615,21.915,3.785), (2.135,4.725,2.305,4.895), (0.275,7.525,0.445,7.695)])
R(dffrnqnx1, met1, [(-0.155,0,26.055,0.31), (8.025,2.475,8.255,2.505), (16.165,2.475,16.395,2.505), (19.865,2.475,20.095,2.505), (7.995,2.505,20.125,2.675), (8.025,2.675,8.255,2.705), (16.165,2.675,16.395,2.705), (19.865,2.675,20.095,2.705), (6.915,3.215,7.145,3.245), (6.765,3.245,7.175,3.415), (6.915,3.415,7.145,3.445), (3.215,3.585,3.445,3.615), (8.765,3.585,8.995,3.615), (10.615,3.585,10.845,3.615), (12.095,3.585,12.325,3.615), (13.945,3.585,14.175,3.615), (21.715,3.585,21.945,3.615), (23.565,3.585,23.795,3.615), (3.185,3.615,10.875,3.785), (12.065,3.615,14.205,3.785), (21.685,3.615,23.825,3.785), (3.215,3.785,3.445,3.815), (8.765,3.785,8.995,3.815), (10.615,3.785,10.845,3.815), (12.095,3.785,12.325,3.815), (13.945,3.785,14.175,3.815), (21.715,3.785,21.945,3.815), (23.565,3.785,23.795,3.815), (3.955,3.955,4.185,3.985), (5.805,3.955,6.035,3.985), (18.755,3.955,18.985,3.985), (20.975,3.955,21.205,3.985), (25.045,3.955,25.275,3.985), (3.925,3.985,19.015,4.155), (20.945,3.985,25.305,4.155), (3.955,4.155,4.185,4.185), (5.805,4.155,6.035,4.185), (18.755,4.155,18.985,4.185), (20.975,4.155,21.205,4.185), (25.045,4.155,25.275,4.185), (0.995,4.325,1.225,4.355), (11.355,4.325,11.585,4.355), (16.905,4.325,17.135,4.355), (24.305,4.325,24.535,4.355), (0.965,4.355,24.565,4.525), (0.995,4.525,1.225,4.555), (11.355,4.525,11.585,4.555), (16.905,4.525,17.135,4.555), (24.305,4.525,24.535,4.555), (2.105,4.695,2.335,4.725), (15.055,4.695,15.285,4.725), (2.075,4.725,15.315,4.895), (2.105,4.895,2.335,4.925), (15.055,4.895,15.285,4.925), (-0.155,7.46,26.055,7.77)])
A(dffrnqnx1, nsdm, -0.28, 4.775, 0.56, 2.625, 3, 1, 4.81, 0)
A(dffrnqnx1, nsdm, 12.67, 4.775, 0.56, 2.625, 3, 1, 4.81, 0)
R(dffrnqnx1, nsdm, [(10.055,0.38,12.515,2.01), (23.005,0.38,25.465,2.01), (0.33,0.39,4.33,2.02), (5.14,0.39,9.14,2.02), (13.28,0.39,17.28,2.02), (18.09,0.39,22.09,2.02), (-0.28,4.215,26.18,4.775), (25.62,4.775,26.18,7.4), (-0.28,7.4,26.18,7.82)])
A(dffrnqnx1, psdm, -0.28, -0.07, 0.56, 0.01, 3, 1, 4.81, 0)
A(dffrnqnx1, psdm, 12.67, -0.07, 0.56, 0.01, 3, 1, 4.81, 0)
A(dffrnqnx1, psdm, -0.28, 0.36, 0.56, 2.065, 3, 1, 4.81, 0)
A(dffrnqnx1, psdm, 12.67, 0.36, 0.56, 2.065, 3, 1, 4.81, 0)
R(dffrnqnx1, psdm, [(25.62,-0.07,26.18,-0.06), (-0.28,-0.06,26.18,0.36), (25.62,0.36,26.18,2.425), (-0.28,2.425,26.18,2.985), (0.83,5.125,3.98,7.375), (5.64,5.125,8.79,7.375), (10.15,5.125,12.42,7.375), (13.78,5.125,16.93,7.375), (18.59,5.125,21.74,7.375), (23.1,5.125,25.37,7.375)])
A(dffrnqnx1, npc, 0.925, 2.035, 0.37, 0.37, 3, 2, 1.11, 2.71)
A(dffrnqnx1, npc, 5.735, 2.035, 0.37, 0.37, 3, 2, 1.11, 2.71)
A(dffrnqnx1, npc, 13.875, 2.035, 0.37, 0.37, 3, 2, 1.11, 2.71)
A(dffrnqnx1, npc, 18.685, 2.035, 0.37, 0.37, 3, 2, 1.11, 2.71)
R(dffrnqnx1, npc, [(10.545,2.035,10.915,2.405), (11.285,2.035,11.655,2.405), (23.495,2.035,23.865,2.405), (24.235,2.035,24.605,2.405), (10.545,4.745,10.915,5.115), (11.315,4.745,11.685,5.115), (23.495,4.745,23.865,5.115), (24.265,4.745,24.635,5.115)])
dffrnqnx1.add(gdstk.Label('QN', (21.83,3.7), layer=68, texttype=16))
dffrnqnx1.add(gdstk.Label('D', (7.03,3.33), layer=68, texttype=16))
dffrnqnx1.add(gdstk.Label('CLK', (2.22,4.81), layer=68, texttype=16))
dffrnqnx1.add(gdstk.Label('RN', (8.14,2.59), layer=68, texttype=16))
dffrnqnx1.add(gdstk.Label('VDD', (0.36,7.61), layer=68, texttype=16))
dffrnqnx1.add(gdstk.Label('VSS', (0.36,0.15), layer=68, texttype=16))

lib.write_gds('DFFRNQNX1.gds')
